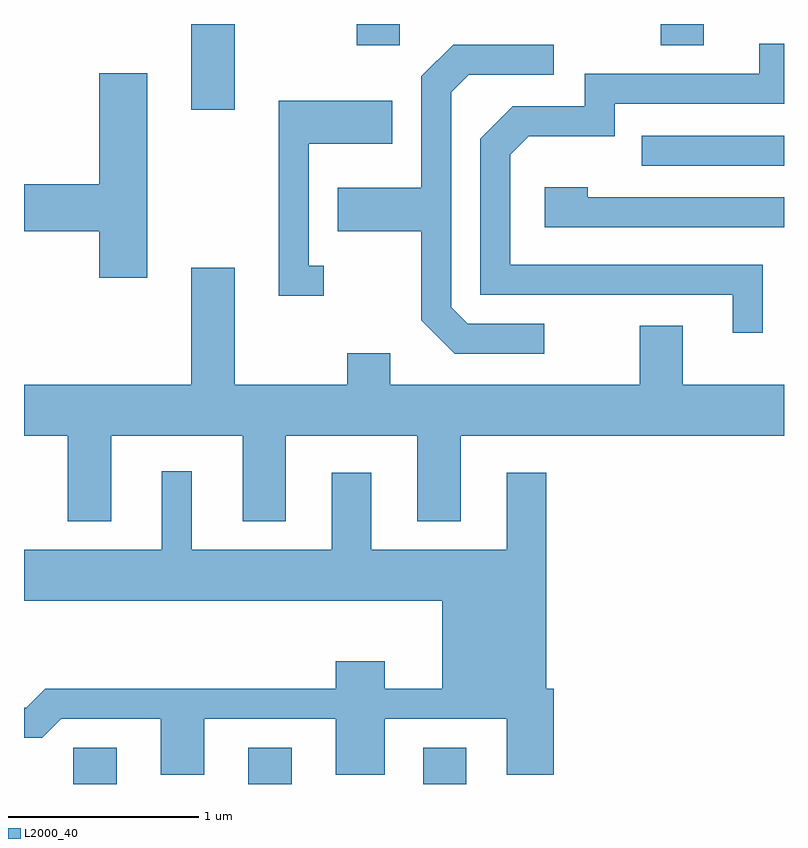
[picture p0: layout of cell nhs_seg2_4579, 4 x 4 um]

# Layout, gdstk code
import gdstk
lib = gdstk.Library(unit=1e-6, precision=1e-09)
def R(c, l, rs):  # rectangles x0, y0, x1, y1
    for r in rs: c.add(gdstk.rectangle(r[:2], r[2:], *l))
def A(c, l, x, y, w, h, nx, ny, dx, dy):  # array of equal rectangles
    R(c, l, [(x+i*dx, y+j*dy, x+i*dx+w, y+j*dy+h) for i in range(nx) for j in range(ny)])
def P(c, l, *ps):  # polygons
    for p in ps: c.add(gdstk.Polygon(p, *l))
L2000_40 = (2000, 40)

nhs_seg2_4579 = lib.new_cell('nhs_seg2_4579')
A(nhs_seg2_4579, L2000_40, 319.871, 1059.802, 0.228, 0.192, 3, 1, 0.92, 0)
R(nhs_seg2_4579, L2000_40, [(322.863,1063.056,323.611,1063.214), (320.491,1063.351,320.719,1063.802), (321.361,1063.691,321.589,1063.802), (322.961,1063.691,323.189,1063.802)])
P(nhs_seg2_4579, L2000_40, [(323.499,1062.534),(322.169,1062.534),(322.169,1063.114),(322.267,1063.211),(322.719,1063.211),(322.719,1063.381),(323.611,1063.381),(323.611,1063.699),(323.481,1063.699),(323.481,1063.539),(322.561,1063.539),(322.561,1063.369),(322.184,1063.369),(322.011,1063.197),(322.011,1062.376),(323.341,1062.376),(323.341,1062.178),(323.499,1062.178)],
  [(322.348,1062.224),(321.947,1062.224),(321.859,1062.312),(321.859,1063.444),(321.952,1063.536),(322.398,1063.536),(322.398,1063.694),(321.869,1063.694),(321.701,1063.527),(321.701,1062.939),(321.261,1062.939),(321.261,1062.711),(321.701,1062.711),(321.701,1062.244),(321.879,1062.066),(322.348,1062.066)],
  [(320.259,1063.544),(320.006,1063.544),(320.006,1062.959),(319.611,1062.959),(319.611,1062.711),(320.006,1062.711),(320.006,1062.466),(320.259,1062.466)],
  [(321.188,1062.529),(321.109,1062.529),(321.109,1063.171),(321.549,1063.171),(321.549,1063.399),(320.951,1063.399),(320.951,1062.371),(321.188,1062.371)],
  [(323.611,1062.889),(322.579,1062.889),(322.579,1062.944),(322.351,1062.944),(322.351,1062.731),(323.611,1062.731)],
  [(320.069,1061.636),(320.761,1061.636),(320.761,1061.186),(320.989,1061.186),(320.989,1061.636),(321.681,1061.636),(321.681,1061.186),(321.909,1061.186),(321.909,1061.636),(323.611,1061.636),(323.611,1061.904),(323.079,1061.904),(323.079,1062.214),(322.851,1062.214),(322.851,1061.904),(321.539,1061.904),(321.539,1062.069),(321.311,1062.069),(321.311,1061.904),(320.719,1061.904),(320.719,1062.519),(320.491,1062.519),(320.491,1061.904),(319.611,1061.904),(319.611,1061.636),(319.841,1061.636),(319.841,1061.186),(320.069,1061.186)],
  [(320.559,1060.146),(321.251,1060.146),(321.251,1059.851),(321.509,1059.851),(321.509,1060.146),(322.151,1060.146),(322.151,1059.851),(322.399,1059.851),(322.399,1060.304),(322.359,1060.304),(322.359,1061.439),(322.151,1061.439),(322.151,1061.034),(321.439,1061.034),(321.439,1061.439),(321.231,1061.439),(321.231,1061.034),(320.494,1061.034),(320.494,1061.448),(320.336,1061.448),(320.336,1061.034),(319.611,1061.034),(319.611,1060.766),(321.811,1060.766),(321.811,1060.304),(321.509,1060.304),(321.509,1060.449),(321.251,1060.449),(321.251,1060.304),(319.724,1060.304),(319.624,1060.204),(319.611,1060.204),(319.611,1060.046),(319.707,1060.046),(319.807,1060.146),(320.331,1060.146),(320.331,1059.851),(320.559,1059.851)])

lib.write_gds('nhs_seg2_4579.gds')
